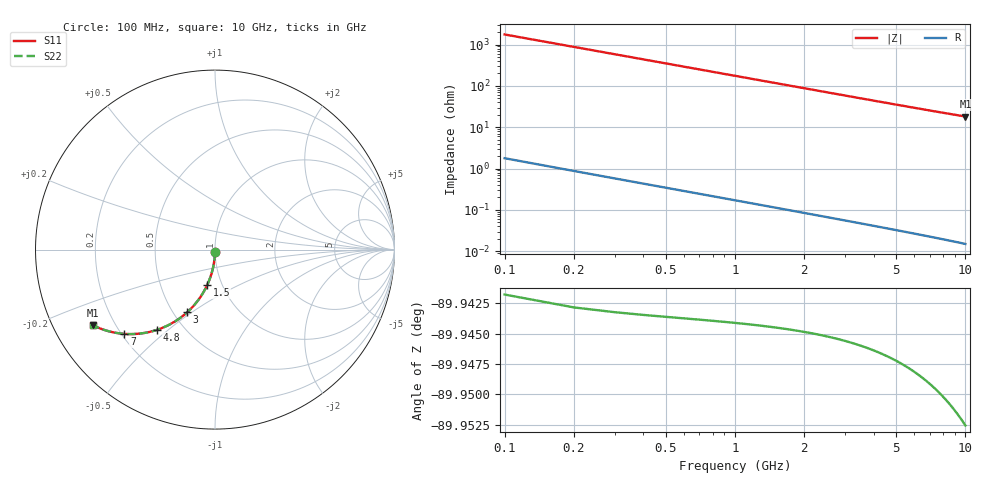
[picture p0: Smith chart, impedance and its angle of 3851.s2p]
# Hz S RI R 50.00
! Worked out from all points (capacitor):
!   100 points, 100 MHz to 10 GHz, reference 50 ohm
!   read as one part in shunt: C = 908 fF near 100 MHz
!   lowest |Z| = 18.2 ohm at 10 GHz (marker M1)
!   S11 on the Smith chart (normalised r, x): 100 MHz: 1.00, -0.03; 1.5 GHz: 0.85, -0.35; 3 GHz: 0.59, -0.48; 4.8 GHz: 0.36, -0.46; 7 GHz: 0.21, -0.38; 10 GHz: 0.12, -0.28
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1e8  -0.000117 -0.0138  0.9997 -0.0147  0.9997 -0.0147  -0.000117 -0.0138
2e8  -0.000739 -0.0277  0.9991 -0.0293  0.9991 -0.0293  -0.000739 -0.0277
3e8  -0.00177 -0.0414  0.998 -0.0439  0.998 -0.0439  -0.00177 -0.0414
4e8  -0.00319 -0.0552  0.9966 -0.0585  0.9966 -0.0585  -0.00319 -0.0552
5e8  -0.00502 -0.0688  0.9948 -0.073  0.9948 -0.073  -0.00502 -0.0688
6e8  -0.00724 -0.0824  0.9925 -0.0874  0.9925 -0.0874  -0.00724 -0.0824
7e8  -0.00985 -0.0959  0.9899 -0.1018  0.9899 -0.1018  -0.00985 -0.0959
9e8  -0.0162 -0.1225  0.9835 -0.13  0.9835 -0.13  -0.0162 -0.1225
1.2e9  -0.0285 -0.1613  0.9712 -0.1713  0.9712 -0.1713  -0.0285 -0.1613
1.5e9  -0.0439 -0.1983  0.9558 -0.2109  0.9558 -0.2109  -0.0439 -0.1983
1.8e9  -0.062 -0.2334  0.9377 -0.2485  0.9377 -0.2485  -0.062 -0.2334
2.4e9  -0.1053 -0.2966  0.8943 -0.3168  0.8943 -0.3168  -0.1053 -0.2966
3e9  -0.1555 -0.3495  0.844 -0.3748  0.844 -0.3748  -0.1555 -0.3495
3.4e9  -0.1915 -0.3789  0.8079 -0.4075  0.8079 -0.4075  -0.1915 -0.3789
4.1e9  -0.2566 -0.4192  0.7425 -0.4538  0.7425 -0.4538  -0.2566 -0.4192
4.8e9  -0.3218 -0.4466  0.6771 -0.4872  0.6771 -0.4872  -0.3218 -0.4466
5.1e9  -0.3492 -0.4548  0.6497 -0.498  0.6497 -0.498  -0.3492 -0.4548
5.9e9  -0.4189 -0.4679  0.5797 -0.5181  0.5797 -0.5181  -0.4189 -0.4679
6.7e9  -0.4828 -0.4706  0.5154 -0.5278  0.5154 -0.5278  -0.4828 -0.4706
7e9  -0.5051 -0.4695  0.4929 -0.5294  0.4929 -0.5294  -0.5051 -0.4695
8.4e9  -0.597 -0.4535  0.4001 -0.5259  0.4001 -0.5259  -0.597 -0.4535
1e10  -0.6796 -0.4217  0.3163 -0.5089  0.3163 -0.5089  -0.6796 -0.4217
